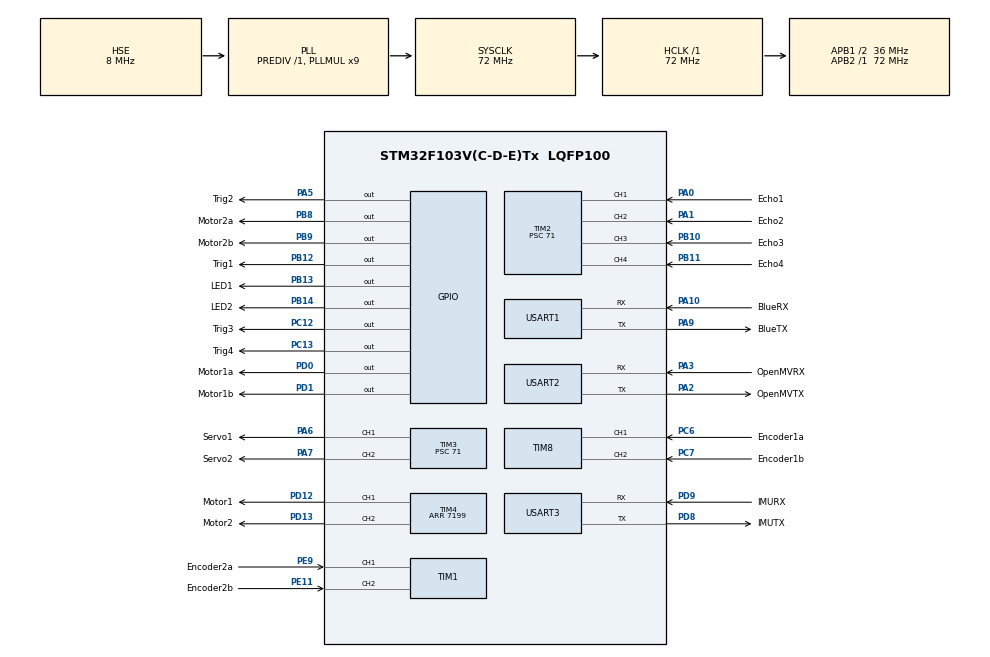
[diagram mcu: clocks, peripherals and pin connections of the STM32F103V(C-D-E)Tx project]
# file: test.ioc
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Dma.Request0=USART3_RX
Dma.USART3_RX.0.Direction=DMA_PERIPH_TO_MEMORY
Dma.USART3_RX.0.Instance=DMA1_Channel3
Dma.USART3_RX.0.MemDataAlignment=DMA_MDATAALIGN_BYTE
Dma.USART3_RX.0.MemInc=DMA_MINC_ENABLE
Dma.USART3_RX.0.Mode=DMA_NORMAL
Dma.USART3_RX.0.PeriphDataAlignment=DMA_PDATAALIGN_BYTE
Dma.USART3_RX.0.PeriphInc=DMA_PINC_DISABLE
Dma.USART3_RX.0.Priority=DMA_PRIORITY_LOW
Mcu.Family=STM32F1
Mcu.Name=STM32F103V(C-D-E)Tx
Mcu.Package=LQFP100
NVIC.DMA1_Channel3_IRQn=true\:0\:0\:false\:false\:true\:false\:true\:true
NVIC.PriorityGroup=NVIC_PRIORITYGROUP_4
NVIC.TIM2_IRQn=true\:6\:0\:true\:false\:true\:true\:true\:true
NVIC.TIM6_IRQn=true\:2\:0\:true\:false\:true\:true\:true\:true
NVIC.TIM7_IRQn=true\:4\:0\:true\:false\:true\:true\:true\:true
NVIC.USART1_IRQn=true\:5\:0\:true\:false\:true\:true\:true\:true
NVIC.USART2_IRQn=true\:5\:0\:true\:false\:true\:true\:true\:true
NVIC.USART3_IRQn=true\:5\:0\:true\:false\:true\:true\:true\:true
OSC_IN.Mode=HSE-External-Oscillator
OSC_IN.Signal=RCC_OSC_IN
OSC_OUT.Mode=HSE-External-Oscillator
OSC_OUT.Signal=RCC_OSC_OUT
PA0-WKUP.GPIO_Label=Echo1
PA0-WKUP.Signal=S_TIM2_CH1_ETR
PA1.GPIO_Label=Echo2
PA1.Signal=S_TIM2_CH2
PA10.GPIO_Label=BlueRX
PA10.Mode=Asynchronous
PA10.Signal=USART1_RX
PA13.Mode=Serial_Wire
PA13.Signal=SYS_JTMS-SWDIO
PA14.Mode=Serial_Wire
PA14.Signal=SYS_JTCK-SWCLK
PA2.GPIO_Label=OpenMVTX
PA2.Mode=Asynchronous
PA2.Signal=USART2_TX
PA3.GPIO_Label=OpenMVRX
PA3.Mode=Asynchronous
PA3.Signal=USART2_RX
PA5.GPIO_Label=Trig2
PA5.Signal=GPIO_Output
PA6.GPIO_Label=Servo1
PA6.Signal=S_TIM3_CH1
PA7.GPIO_Label=Servo2
PA7.Signal=S_TIM3_CH2
PA9.GPIO_Label=BlueTX
PA9.Mode=Asynchronous
PA9.Signal=USART1_TX
PB10.GPIO_Label=Echo3
PB10.Signal=S_TIM2_CH3
PB11.GPIO_Label=Echo4
PB11.Signal=S_TIM2_CH4
PB12.GPIO_Label=Trig1
PB12.Signal=GPIO_Output
PB13.GPIO_Label=LED1
PB13.Signal=GPIO_Output
PB14.GPIO_Label=LED2
PB14.Signal=GPIO_Output
PB8.GPIO_Label=Motor2a
PB8.Signal=GPIO_Output
PB9.GPIO_Label=Motor2b
PB9.Signal=GPIO_Output
PC12.GPIO_Label=Trig3
PC12.Signal=GPIO_Output
PC13-TAMPER-RTC.GPIO_Label=Trig4
PC13-TAMPER-RTC.Signal=GPIO_Output
PC14-OSC32_IN.Mode=LSE-External-Oscillator
PC14-OSC32_IN.Signal=RCC_OSC32_IN
PC15-OSC32_OUT.Mode=LSE-External-Oscillator
PC15-OSC32_OUT.Signal=RCC_OSC32_OUT
PC6.GPIO_Label=Encoder1a
PC6.Signal=S_TIM8_CH1
PC7.GPIO_Label=Encoder1b
PC7.Signal=S_TIM8_CH2
PD0.GPIO_Label=Motor1a
PD0.Signal=GPIO_Output
PD1.GPIO_Label=Motor1b
PD1.Signal=GPIO_Output
PD12.GPIO_Label=Motor1
PD12.Signal=S_TIM4_CH1
PD13.GPIO_Label=Motor2
PD13.Signal=S_TIM4_CH2
PD8.GPIO_Label=IMUTX
PD8.Mode=Asynchronous
PD8.Signal=USART3_TX
PD9.GPIO_Label=IMURX
PD9.Mode=Asynchronous
PD9.Signal=USART3_RX
PE11.GPIO_Label=Encoder2b
PE11.Signal=S_TIM1_CH2
PE9.GPIO_Label=Encoder2a
PE9.Signal=S_TIM1_CH1
ProjectManager.HeapSize=0x200
ProjectManager.StackSize=0x400
ProjectManager.TargetToolchain=STM32CubeIDE
RCC.AHBFreq_Value=72000000
RCC.APB1CLKDivider=RCC_HCLK_DIV2
RCC.APB1Freq_Value=36000000
RCC.APB1TimFreq_Value=72000000
RCC.APB2Freq_Value=72000000
RCC.APB2TimFreq_Value=72000000
RCC.HCLKFreq_Value=72000000
RCC.PLLMUL=RCC_PLL_MUL9
RCC.PLLSourceVirtual=RCC_PLLSOURCE_HSE
RCC.SYSCLKFreq_VALUE=72000000
RCC.SYSCLKSource=RCC_SYSCLKSOURCE_PLLCLK
RCC.USBFreq_Value=72000000
SH.S_TIM1_CH1.0=TIM1_CH1,Encoder_Interface
SH.S_TIM1_CH2.0=TIM1_CH2,Encoder_Interface
SH.S_TIM2_CH1_ETR.0=TIM2_CH1,Input_Capture1_from_TI1
SH.S_TIM2_CH2.0=TIM2_CH2,Input_Capture2_from_TI2
SH.S_TIM2_CH3.0=TIM2_CH3,Input_Capture3_from_TI3
SH.S_TIM2_CH4.0=TIM2_CH4,Input_Capture4_from_TI4
SH.S_TIM3_CH1.0=TIM3_CH1,PWM Generation1 CH1
SH.S_TIM3_CH2.0=TIM3_CH2,PWM Generation2 CH2
SH.S_TIM4_CH1.0=TIM4_CH1,PWM Generation1 CH1
SH.S_TIM4_CH2.0=TIM4_CH2,PWM Generation2 CH2
SH.S_TIM8_CH1.0=TIM8_CH1,Encoder_Interface
SH.S_TIM8_CH2.0=TIM8_CH2,Encoder_Interface
TIM2.Channel-Input_Capture1_from_TI1=TIM_CHANNEL_1
TIM2.Channel-Input_Capture2_from_TI2=TIM_CHANNEL_2
TIM2.Channel-Input_Capture3_from_TI3=TIM_CHANNEL_3
TIM2.Channel-Input_Capture4_from_TI4=TIM_CHANNEL_4
TIM2.Prescaler=71
TIM3.Channel-PWM\ Generation1\ CH1=TIM_CHANNEL_1
TIM3.Channel-PWM\ Generation2\ CH2=TIM_CHANNEL_2
TIM3.Period=19999
TIM3.Prescaler=71
TIM4.Channel-PWM\ Generation1\ CH1=TIM_CHANNEL_1
TIM4.Channel-PWM\ Generation2\ CH2=TIM_CHANNEL_2
TIM4.Period=7199
TIM6.Period=199
TIM6.Prescaler=7199
TIM7.Period=39
TIM7.Prescaler=71
TIM7.TIM_MasterOutputTrigger=TIM_TRGO_RESET
USART1.VirtualMode=VM_ASYNC
USART2.VirtualMode=VM_ASYNC
USART3.VirtualMode=VM_ASYNC
VP_TIM2_VS_ClockSourceINT.Mode=Internal
VP_TIM3_VS_ClockSourceINT.Mode=Internal
VP_TIM4_VS_ClockSourceINT.Mode=Internal
VP_TIM6_VS_ClockSourceINT.Mode=Enable_Timer
VP_TIM7_VS_ClockSourceINT.Mode=Enable_Timer
VP_TIM7_VS_OPM.Mode=OPM_bit
board=custom

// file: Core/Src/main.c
/* USER CODE BEGIN Header */
/**
  ******************************************************************************
  * @file           : main.c
  * @brief          : Main program body
  ******************************************************************************
  * @attention
  *
  * Copyright (c) 2022 STMicroelectronics.
  * All rights reserved.
  *
  * This software is licensed under terms that can be found in the LICENSE file
  * in the root directory of this software component.
  * If no LICENSE file comes with this software, it is provided AS-IS.
  *
  ******************************************************************************
  */
/* USER CODE END Header */
#include "main.h"

/* USER CODE BEGIN Includes */

#include "servo.h"
#include "ultrasound.h"
#include "control.h"
#include "timer.h"
#include "JY901.h"
#include "utils.h"
#include "buffer.h"

#include <stdio.h>
#include <string.h>

/* USER CODE END Includes */

TIM_HandleTypeDef htim1;
TIM_HandleTypeDef htim2;
TIM_HandleTypeDef htim3;
TIM_HandleTypeDef htim4;
TIM_HandleTypeDef htim6;
TIM_HandleTypeDef htim7;
TIM_HandleTypeDef htim8;

UART_HandleTypeDef huart1;
UART_HandleTypeDef huart2;
UART_HandleTypeDef huart3;
DMA_HandleTypeDef hdma_usart3_rx;

/* USER CODE BEGIN PV */

uint8_t BlueRX[BLUERXLEN + 1], BlueTX[BLUETXLEN];
uint8_t Blueflag;
uint16_t speedlim;
int fwdlim;

struct Servo servoB, servoS;
struct Wheel wheelL, wheelR;

struct Ultrasound ultra1, ultra2, ultra3, ultra4;
uint32_t Ultralim;
uint8_t doultra;

struct JY901 JY901data;
struct SAngle angle;

uint8_t doPID;
uint16_t aimENC;
struct PID fwdPIDL, fwdPIDR, rotPID;
short aimANG;
uint8_t doangPID;

uint8_t dospinPID;
struct PID speedPIDL, speedPIDR;
short speedL, speedR;
short aimspeedL, aimspeedR;

struct PID spinPID;

uint8_t OpenRX;
uint8_t openmvflag;

uint8_t opid;
short opnd;

uint8_t startmove;
uint8_t tank;	// dont stop
uint8_t speedonly;
uint8_t force;	// ignore OpenMV

/* USER CODE END PV */

void SystemClock_Config(void);
static void MX_GPIO_Init(void);
static void MX_DMA_Init(void);
static void MX_TIM3_Init(void);
static void MX_TIM1_Init(void);
static void MX_TIM2_Init(void);
static void MX_TIM4_Init(void);
static void MX_TIM8_Init(void);
static void MX_USART1_UART_Init(void);
static void MX_USART2_UART_Init(void);
static void MX_USART3_UART_Init(void);
static void MX_TIM6_Init(void);
static void MX_TIM7_Init(void);

int main(void)
{

  /* MCU Configuration--------------------------------------------------------*/

  /* Reset of all peripherals, Initializes the Flash interface and the Systick. */
  HAL_Init();

  /* Configure the system clock */
  SystemClock_Config();

  /* Initialize all configured peripherals */
  MX_GPIO_Init();
  MX_DMA_Init();
  MX_TIM3_Init();
  MX_TIM1_Init();
  MX_TIM2_Init();
  MX_TIM4_Init();
  MX_TIM8_Init();
  MX_USART1_UART_Init();
  MX_USART2_UART_Init();
  MX_USART3_UART_Init();
  MX_TIM6_Init();
  MX_TIM7_Init();
  /* USER CODE BEGIN 2 */

  // Servo
  Servo_init(&servoB, &htim3, TIM_CHANNEL_1);	// big
  Servo_init(&servoS, &htim3, TIM_CHANNEL_2);	// small
  Paw_init();

  // Wheel
  control_init();

  // Ultrasound
  Ultrasound_init(&ultra1, &htim2, TIM_CHANNEL_1, GPIOB, GPIO_PIN_12);	// front left
  Ultrasound_init(&ultra2, &htim2, TIM_CHANNEL_2, GPIOA, GPIO_PIN_5);	// front right
  ultra2.retreat = ultra1.retreat = retr_front;
  Ultrasound_init(&ultra3, &htim2, TIM_CHANNEL_3, GPIOC, GPIO_PIN_12);	// back left
  Ultrasound_init(&ultra4, &htim2, TIM_CHANNEL_4, GPIOC, GPIO_PIN_13);	// back right
  __HAL_TIM_CLEAR_IT(&htim7, TIM_IT_UPDATE);	// trig timer init

  // Timer
  TimerIT_init(&htim6);

  // IMU
  JY901_init(&JY901data, &huart3);

  /* USER CODE END 2 */

  /* Infinite loop */
  /* USER CODE BEGIN WHILE */

  openmvflag = 0;

  Blueflag = 0;

  PID_init(&fwdPIDL, 0.2, 0, 0);
  PID_init(&fwdPIDR, 0.2, 0, 0);
  PID_init(&rotPID, 0.1, 0, 0);
  PID_init(&speedPIDL, 1000, 100, 0);
  PID_init(&speedPIDR, 1000, 100, 0);
  PID_init(&spinPID, 0.0028, 0, 0);

  speedlim = 6000;
  fwdlim = 5000;

  HAL_GPIO_WritePin(GPIOB, GPIO_PIN_13, GPIO_PIN_SET);
  HAL_GPIO_WritePin(GPIOB, GPIO_PIN_14, GPIO_PIN_SET);

  Ultralim = 600;
  doultra = 1;

  while (1)
  {
    /* USER CODE END WHILE */

    /* USER CODE BEGIN 3 */

	  if(Blueflag){
		  handleBlueRX((char*)BlueRX, (char*)BlueTX);
		  Blueflag = 0;
	  }
	  if(openmvflag && !force){
		  handleOpenRX((char*)BlueTX);
		  openmvflag = 0;
	  }

	  Ultrasound_trig(&ultra1);
	  Ultrasound_trig(&ultra2);
	  __HAL_TIM_SET_COUNTER(&htim7, 0);
	  HAL_TIM_Base_Start_IT(&htim7);

	  HAL_Delay(100);

	  if(!ultra1.danger && !ultra2.danger && speedonly){
		  doPID = dospinPID = 0;
		  force = 0;
		  speedonly = 0;
	  }

  }
  /* USER CODE END 3 */
}

void SystemClock_Config(void)
{
  RCC_OscInitTypeDef RCC_OscInitStruct = {0};
  RCC_ClkInitTypeDef RCC_ClkInitStruct = {0};

  /** Initializes the RCC Oscillators according to the specified parameters
  * in the RCC_OscInitTypeDef structure.
  */
  RCC_OscInitStruct.OscillatorType = RCC_OSCILLATORTYPE_HSE;
  RCC_OscInitStruct.HSEState = RCC_HSE_ON;
  RCC_OscInitStruct.HSEPredivValue = RCC_HSE_PREDIV_DIV1;
  RCC_OscInitStruct.HSIState = RCC_HSI_ON;
  RCC_OscInitStruct.PLL.PLLState = RCC_PLL_ON;
  RCC_OscInitStruct.PLL.PLLSource = RCC_PLLSOURCE_HSE;
  RCC_OscInitStruct.PLL.PLLMUL = RCC_PLL_MUL9;
  if (HAL_RCC_OscConfig(&RCC_OscInitStruct) != HAL_OK)
  {
    Error_Handler();
  }

  /** Initializes the CPU, AHB and APB buses clocks
  */
  RCC_ClkInitStruct.ClockType = RCC_CLOCKTYPE_HCLK|RCC_CLOCKTYPE_SYSCLK
                              |RCC_CLOCKTYPE_PCLK1|RCC_CLOCKTYPE_PCLK2;
  RCC_ClkInitStruct.SYSCLKSource = RCC_SYSCLKSOURCE_PLLCLK;
  RCC_ClkInitStruct.AHBCLKDivider = RCC_SYSCLK_DIV1;
  RCC_ClkInitStruct.APB1CLKDivider = RCC_HCLK_DIV2;
  RCC_ClkInitStruct.APB2CLKDivider = RCC_HCLK_DIV1;

  if (HAL_RCC_ClockConfig(&RCC_ClkInitStruct, FLASH_LATENCY_2) != HAL_OK)
  {
    Error_Handler();
  }
}

static void MX_TIM1_Init(void)
{

  /* USER CODE BEGIN TIM1_Init 0 */

	// Encoder 2

  /* USER CODE END TIM1_Init 0 */

  TIM_Encoder_InitTypeDef sConfig = {0};
  TIM_MasterConfigTypeDef sMasterConfig = {0};

  htim1.Instance = TIM1;
  htim1.Init.Prescaler = 0;
  htim1.Init.CounterMode = TIM_COUNTERMODE_UP;
  htim1.Init.Period = 65535;
  htim1.Init.ClockDivision = TIM_CLOCKDIVISION_DIV1;
  htim1.Init.RepetitionCounter = 0;
  htim1.Init.AutoReloadPreload = TIM_AUTORELOAD_PRELOAD_DISABLE;
  sConfig.EncoderMode = TIM_ENCODERMODE_TI1;
  sConfig.IC1Polarity = TIM_ICPOLARITY_RISING;
  sConfig.IC1Selection = TIM_ICSELECTION_DIRECTTI;
  sConfig.IC1Prescaler = TIM_ICPSC_DIV1;
  sConfig.IC1Filter = 0;
  sConfig.IC2Polarity = TIM_ICPOLARITY_RISING;
  sConfig.IC2Selection = TIM_ICSELECTION_DIRECTTI;
  sConfig.IC2Prescaler = TIM_ICPSC_DIV1;
  sConfig.IC2Filter = 0;
  if (HAL_TIM_Encoder_Init(&htim1, &sConfig) != HAL_OK)
  {
    Error_Handler();
  }
  sMasterConfig.MasterOutputTrigger = TIM_TRGO_RESET;
  sMasterConfig.MasterSlaveMode = TIM_MASTERSLAVEMODE_DISABLE;
  if (HAL_TIMEx_MasterConfigSynchronization(&htim1, &sMasterConfig) != HAL_OK)
  {
    Error_Handler();
  }

}

static void MX_TIM2_Init(void)
{

  /* USER CODE BEGIN TIM2_Init 0 */

	// Ultrasound ECHO

  /* USER CODE END TIM2_Init 0 */

  TIM_ClockConfigTypeDef sClockSourceConfig = {0};
  TIM_MasterConfigTypeDef sMasterConfig = {0};
  TIM_IC_InitTypeDef sConfigIC = {0};

  htim2.Instance = TIM2;
  htim2.Init.Prescaler = 71;
  htim2.Init.CounterMode = TIM_COUNTERMODE_UP;
  htim2.Init.Period = 65535;
  htim2.Init.ClockDivision = TIM_CLOCKDIVISION_DIV1;
  htim2.Init.AutoReloadPreload = TIM_AUTORELOAD_PRELOAD_DISABLE;
  if (HAL_TIM_Base_Init(&htim2) != HAL_OK)
  {
    Error_Handler();
  }
  sClockSourceConfig.ClockSource = TIM_CLOCKSOURCE_INTERNAL;
  if (HAL_TIM_ConfigClockSource(&htim2, &sClockSourceConfig) != HAL_OK)
  {
    Error_Handler();
  }
  if (HAL_TIM_IC_Init(&htim2) != HAL_OK)
  {
    Error_Handler();
  }
  sMasterConfig.MasterOutputTrigger = TIM_TRGO_RESET;
  sMasterConfig.MasterSlaveMode = TIM_MASTERSLAVEMODE_DISABLE;
  if (HAL_TIMEx_MasterConfigSynchronization(&htim2, &sMasterConfig) != HAL_OK)
  {
    Error_Handler();
  }
  sConfigIC.ICPolarity = TIM_INPUTCHANNELPOLARITY_RISING;
  sConfigIC.ICSelection = TIM_ICSELECTION_DIRECTTI;
  sConfigIC.ICPrescaler = TIM_ICPSC_DIV1;
  sConfigIC.ICFilter = 0;
  if (HAL_TIM_IC_ConfigChannel(&htim2, &sConfigIC, TIM_CHANNEL_1) != HAL_OK)
  {
    Error_Handler();
  }
  if (HAL_TIM_IC_ConfigChannel(&htim2, &sConfigIC, TIM_CHANNEL_2) != HAL_OK)
  {
    Error_Handler();
  }
  if (HAL_TIM_IC_ConfigChannel(&htim2, &sConfigIC, TIM_CHANNEL_3) != HAL_OK)
  {
    Error_Handler();
  }
  if (HAL_TIM_IC_ConfigChannel(&htim2, &sConfigIC, TIM_CHANNEL_4) != HAL_OK)
  {
    Error_Handler();
  }

}

static void MX_TIM3_Init(void)
{

  /* USER CODE BEGIN TIM3_Init 0 */

	// Servo PWM

  /* USER CODE END TIM3_Init 0 */

  TIM_ClockConfigTypeDef sClockSourceConfig = {0};
  TIM_MasterConfigTypeDef sMasterConfig = {0};
  TIM_OC_InitTypeDef sConfigOC = {0};

  htim3.Instance = TIM3;
  htim3.Init.Prescaler = 71;
  htim3.Init.CounterMode = TIM_COUNTERMODE_UP;
  htim3.Init.Period = 19999;
  htim3.Init.ClockDivision = TIM_CLOCKDIVISION_DIV1;
  htim3.Init.AutoReloadPreload = TIM_AUTORELOAD_PRELOAD_DISABLE;
  if (HAL_TIM_Base_Init(&htim3) != HAL_OK)
  {
    Error_Handler();
  }
  sClockSourceConfig.ClockSource = TIM_CLOCKSOURCE_INTERNAL;
  if (HAL_TIM_ConfigClockSource(&htim3, &sClockSourceConfig) != HAL_OK)
  {
    Error_Handler();
  }
  if (HAL_TIM_PWM_Init(&htim3) != HAL_OK)
  {
    Error_Handler();
  }
  sMasterConfig.MasterOutputTrigger = TIM_TRGO_RESET;
  sMasterConfig.MasterSlaveMode = TIM_MASTERSLAVEMODE_DISABLE;
  if (HAL_TIMEx_MasterConfigSynchronization(&htim3, &sMasterConfig) != HAL_OK)
  {
    Error_Handler();
  }
  sConfigOC.OCMode = TIM_OCMODE_PWM1;
  sConfigOC.Pulse = 0;
  sConfigOC.OCPolarity = TIM_OCPOLARITY_HIGH;
  sConfigOC.OCFastMode = TIM_OCFAST_DISABLE;
  if (HAL_TIM_PWM_ConfigChannel(&htim3, &sConfigOC, TIM_CHANNEL_1) != HAL_OK)
  {
    Error_Handler();
  }
  if (HAL_TIM_PWM_ConfigChannel(&htim3, &sConfigOC, TIM_CHANNEL_2) != HAL_OK)
  {
    Error_Handler();
  }
  HAL_TIM_MspPostInit(&htim3);

}

static void MX_TIM4_Init(void)
{

  /* USER CODE BEGIN TIM4_Init 0 */

	// Motor PWM

  /* USER CODE END TIM4_Init 0 */

  TIM_ClockConfigTypeDef sClockSourceConfig = {0};
  TIM_MasterConfigTypeDef sMasterConfig = {0};
  TIM_OC_InitTypeDef sConfigOC = {0};

  htim4.Instance = TIM4;
  htim4.Init.Prescaler = 0;
  htim4.Init.CounterMode = TIM_COUNTERMODE_UP;
  htim4.Init.Period = 7199;
  htim4.Init.ClockDivision = TIM_CLOCKDIVISION_DIV1;
  htim4.Init.AutoReloadPreload = TIM_AUTORELOAD_PRELOAD_DISABLE;
  if (HAL_TIM_Base_Init(&htim4) != HAL_OK)
  {
    Error_Handler();
  }
  sClockSourceConfig.ClockSource = TIM_CLOCKSOURCE_INTERNAL;
  if (HAL_TIM_ConfigClockSource(&htim4, &sClockSourceConfig) != HAL_OK)
  {
    Error_Handler();
  }
  if (HAL_TIM_PWM_Init(&htim4) != HAL_OK)
  {
    Error_Handler();
  }
  sMasterConfig.MasterOutputTrigger = TIM_TRGO_RESET;
  sMasterConfig.MasterSlaveMode = TIM_MASTERSLAVEMODE_DISABLE;
  if (HAL_TIMEx_MasterConfigSynchronization(&htim4, &sMasterConfig) != HAL_OK)
  {
    Error_Handler();
  }
  sConfigOC.OCMode = TIM_OCMODE_PWM1;
  sConfigOC.Pulse = 0;
  sConfigOC.OCPolarity = TIM_OCPOLARITY_HIGH;
  sConfigOC.OCFastMode = TIM_OCFAST_DISABLE;
  if (HAL_TIM_PWM_ConfigChannel(&htim4, &sConfigOC, TIM_CHANNEL_1) != HAL_OK)
  {
    Error_Handler();
  }
  if (HAL_TIM_PWM_ConfigChannel(&htim4, &sConfigOC, TIM_CHANNEL_2) != HAL_OK)
  {
    Error_Handler();
  }
  HAL_TIM_MspPostInit(&htim4);

}

static void MX_TIM6_Init(void)
{

  /* USER CODE BEGIN TIM6_Init 0 */

	// Timer interrupt

  /* USER CODE END TIM6_Init 0 */

  TIM_MasterConfigTypeDef sMasterConfig = {0};

  htim6.Instance = TIM6;
  htim6.Init.Prescaler = 7199;
  htim6.Init.CounterMode = TIM_COUNTERMODE_UP;
  htim6.Init.Period = 199;
  htim6.Init.AutoReloadPreload = TIM_AUTORELOAD_PRELOAD_DISABLE;
  if (HAL_TIM_Base_Init(&htim6) != HAL_OK)
  {
    Error_Handler();
  }
  sMasterConfig.MasterOutputTrigger = TIM_TRGO_RESET;
  sMasterConfig.MasterSlaveMode = TIM_MASTERSLAVEMODE_DISABLE;
  if (HAL_TIMEx_MasterConfigSynchronization(&htim6, &sMasterConfig) != HAL_OK)
  {
    Error_Handler();
  }

}

static void MX_TIM7_Init(void)
{

  TIM_MasterConfigTypeDef sMasterConfig = {0};

  htim7.Instance = TIM7;
  htim7.Init.Prescaler = 71;
  htim7.Init.CounterMode = TIM_COUNTERMODE_UP;
  htim7.Init.Period = 39;
  htim7.Init.AutoReloadPreload = TIM_AUTORELOAD_PRELOAD_DISABLE;
  if (HAL_TIM_Base_Init(&htim7) != HAL_OK)
  {
    Error_Handler();
  }
  if (HAL_TIM_OnePulse_Init(&htim7, TIM_OPMODE_SINGLE) != HAL_OK)
  {
    Error_Handler();
  }
  sMasterConfig.MasterOutputTrigger = TIM_TRGO_RESET;
  sMasterConfig.MasterSlaveMode = TIM_MASTERSLAVEMODE_DISABLE;
  if (HAL_TIMEx_MasterConfigSynchronization(&htim7, &sMasterConfig) != HAL_OK)
  {
    Error_Handler();
  }

}

static void MX_TIM8_Init(void)
{

  /* USER CODE BEGIN TIM8_Init 0 */

	// Encoder 1

  /* USER CODE END TIM8_Init 0 */

  TIM_Encoder_InitTypeDef sConfig = {0};
  TIM_MasterConfigTypeDef sMasterConfig = {0};

  htim8.Instance = TIM8;
  htim8.Init.Prescaler = 0;
  htim8.Init.CounterMode = TIM_COUNTERMODE_UP;
  htim8.Init.Period = 65535;
  htim8.Init.ClockDivision = TIM_CLOCKDIVISION_DIV1;
  htim8.Init.RepetitionCounter = 0;
  htim8.Init.AutoReloadPreload = TIM_AUTORELOAD_PRELOAD_DISABLE;
  sConfig.EncoderMode = TIM_ENCODERMODE_TI1;
  sConfig.IC1Polarity = TIM_ICPOLARITY_RISING;
  sConfig.IC1Selection = TIM_ICSELECTION_DIRECTTI;
  sConfig.IC1Prescaler = TIM_ICPSC_DIV1;
  sConfig.IC1Filter = 0;
  sConfig.IC2Polarity = TIM_ICPOLARITY_RISING;
  sConfig.IC2Selection = TIM_ICSELECTION_DIRECTTI;
  sConfig.IC2Prescaler = TIM_ICPSC_DIV1;
  sConfig.IC2Filter = 0;
  if (HAL_TIM_Encoder_Init(&htim8, &sConfig) != HAL_OK)
  {
    Error_Handler();
  }
  sMasterConfig.MasterOutputTrigger = TIM_TRGO_RESET;
  sMasterConfig.MasterSlaveMode = TIM_MASTERSLAVEMODE_DISABLE;
  if (HAL_TIMEx_MasterConfigSynchronization(&htim8, &sMasterConfig) != HAL_OK)
  {
    Error_Handler();
  }

}

static void MX_USART1_UART_Init(void)
{

  /* USER CODE BEGIN USART1_Init 0 */

	// Bluetooth

  /* USER CODE END USART1_Init 0 */

  huart1.Instance = USART1;
  huart1.Init.BaudRate = 115200;
  huart1.Init.WordLength = UART_WORDLENGTH_8B;
  huart1.Init.StopBits = UART_STOPBITS_1;
  huart1.Init.Parity = UART_PARITY_NONE;
  huart1.Init.Mode = UART_MODE_TX_RX;
  huart1.Init.HwFlowCtl = UART_HWCONTROL_NONE;
  huart1.Init.OverSampling = UART_OVERSAMPLING_16;
  if (HAL_UART_Init(&huart1) != HAL_OK)
  {
    Error_Handler();
  }
  /* USER CODE BEGIN USART1_Init 2 */

  else{
	  HAL_UART_Receive_IT(&huart1, BlueRX, BLUERXLEN);
  }

  /* USER CODE END USART1_Init 2 */

}

static void MX_USART2_UART_Init(void)
{

  /* USER CODE BEGIN USART2_Init 0 */

	// OpenMV

  /* USER CODE END USART2_Init 0 */

  huart2.Instance = USART2;
  huart2.Init.BaudRate = 115200;
  huart2.Init.WordLength = UART_WORDLENGTH_8B;
  huart2.Init.StopBits = UART_STOPBITS_1;
  huart2.Init.Parity = UART_PARITY_NONE;
  huart2.Init.Mode = UART_MODE_TX_RX;
  huart2.Init.HwFlowCtl = UART_HWCONTROL_NONE;
  huart2.Init.OverSampling = UART_OVERSAMPLING_16;
  if (HAL_UART_Init(&huart2) != HAL_OK)
  {
    Error_Handler();
  }
  /* USER CODE BEGIN USART2_Init 2 */

	HAL_UART_Receive_IT(&huart2, &OpenRX, 1);

  /* USER CODE END USART2_Init 2 */

}

static void MX_USART3_UART_Init(void)
{

  /* USER CODE BEGIN USART3_Init 0 */

	// IMU

  /* USER CODE END USART3_Init 0 */

  huart3.Instance = USART3;
  huart3.Init.BaudRate = 115200;
  huart3.Init.WordLength = UART_WORDLENGTH_8B;
  huart3.Init.StopBits = UART_STOPBITS_1;
  huart3.Init.Parity = UART_PARITY_NONE;
  huart3.Init.Mode = UART_MODE_TX_RX;
  huart3.Init.HwFlowCtl = UART_HWCONTROL_NONE;
  huart3.Init.OverSampling = UART_OVERSAMPLING_16;
  if (HAL_UART_Init(&huart3) != HAL_OK)
  {
    Error_Handler();
  }
  /* USER CODE BEGIN USART3_Init 2 */

//  HAL_UART_Receive_IT(&huart3, IMURX, sizeof(IMURX));

  /* USER CODE END USART3_Init 2 */

}

static void MX_DMA_Init(void)
{

  /* DMA controller clock enable */
  __HAL_RCC_DMA1_CLK_ENABLE();

  /* DMA interrupt init */
  /* DMA1_Channel3_IRQn interrupt configuration */
  HAL_NVIC_SetPriority(DMA1_Channel3_IRQn, 0, 0);
  HAL_NVIC_EnableIRQ(DMA1_Channel3_IRQn);

}

static void MX_GPIO_Init(void)
{
  GPIO_InitTypeDef GPIO_InitStruct = {0};

  /* GPIO Ports Clock Enable */
  __HAL_RCC_GPIOC_CLK_ENABLE();
  __HAL_RCC_GPIOA_CLK_ENABLE();
  __HAL_RCC_GPIOE_CLK_ENABLE();
  __HAL_RCC_GPIOB_CLK_ENABLE();
  __HAL_RCC_GPIOD_CLK_ENABLE();

  /*Configure GPIO pin Output Level */
  HAL_GPIO_WritePin(GPIOC, Trig4_Pin|Trig3_Pin, GPIO_PIN_RESET);

  /*Configure GPIO pin Output Level */
  HAL_GPIO_WritePin(Trig2_GPIO_Port, Trig2_Pin, GPIO_PIN_RESET);

  /*Configure GPIO pin Output Level */
  HAL_GPIO_WritePin(GPIOB, Trig1_Pin|LED1_Pin|LED2_Pin|Motor2a_Pin
                          |Motor2b_Pin, GPIO_PIN_RESET);

  /*Configure GPIO pin Output Level */
  HAL_GPIO_WritePin(GPIOD, Motor1a_Pin|Motor1b_Pin, GPIO_PIN_RESET);

  /*Configure GPIO pins : Trig4_Pin Trig3_Pin */
  GPIO_InitStruct.Pin = Trig4_Pin|Trig3_Pin;
  GPIO_InitStruct.Mode = GPIO_MODE_OUTPUT_PP;
  GPIO_InitStruct.Pull = GPIO_NOPULL;
  GPIO_InitStruct.Speed = GPIO_SPEED_FREQ_LOW;
  HAL_GPIO_Init(GPIOC, &GPIO_InitStruct);

  /*Configure GPIO pin : Trig2_Pin */
  GPIO_InitStruct.Pin = Trig2_Pin;
  GPIO_InitStruct.Mode = GPIO_MODE_OUTPUT_PP;
  GPIO_InitStruct.Pull = GPIO_NOPULL;
  GPIO_InitStruct.Speed = GPIO_SPEED_FREQ_LOW;
  HAL_GPIO_Init(Trig2_GPIO_Port, &GPIO_InitStruct);

  /*Configure GPIO pins : Trig1_Pin LED1_Pin LED2_Pin Motor2a_Pin
                           Motor2b_Pin */
  GPIO_InitStruct.Pin = Trig1_Pin|LED1_Pin|LED2_Pin|Motor2a_Pin
                          |Motor2b_Pin;
  GPIO_InitStruct.Mode = GPIO_MODE_OUTPUT_PP;
  GPIO_InitStruct.Pull = GPIO_NOPULL;
  GPIO_InitStruct.Speed = GPIO_SPEED_FREQ_LOW;
  HAL_GPIO_Init(GPIOB, &GPIO_InitStruct);

  /*Configure GPIO pins : Motor1a_Pin Motor1b_Pin */
  GPIO_InitStruct.Pin = Motor1a_Pin|Motor1b_Pin;
  GPIO_InitStruct.Mode = GPIO_MODE_OUTPUT_PP;
  GPIO_InitStruct.Pull = GPIO_NOPULL;
  GPIO_InitStruct.Speed = GPIO_SPEED_FREQ_LOW;
  HAL_GPIO_Init(GPIOD, &GPIO_InitStruct);

}

/* USER CODE BEGIN 4 */

// UART interrupt callback
void HAL_UART_RxCpltCallback(UART_HandleTypeDef *huart){
	// Bluetooth
	if(huart == &huart1){
		Blueflag = 1;
		HAL_UART_Receive_IT(huart, BlueRX, BLUERXLEN);
	}

	// OpenMV
	if(huart == &huart2){
		openmvflag = buffer_push(OpenRX);
		HAL_UART_Receive_IT(huart, &OpenRX, 1);
	}
}

// ECHO callback
void HAL_TIM_IC_CaptureCallback(TIM_HandleTypeDef *htim){
	if(htim == &htim2){
		if(htim->Channel == HAL_TIM_ACTIVE_CHANNEL_1)
			Ultrasound_capturecallback(&ultra1);
		if(htim->Channel == HAL_TIM_ACTIVE_CHANNEL_2)
			Ultrasound_capturecallback(&ultra2);
		if(htim->Channel == HAL_TIM_ACTIVE_CHANNEL_3)
			Ultrasound_capturecallback(&ultra3);
		if(htim->Channel == HAL_TIM_ACTIVE_CHANNEL_4)
			Ultrasound_capturecallback(&ultra4);
	}
}

// TIM interrupt callback
void HAL_TIM_PeriodElapsedCallback(TIM_HandleTypeDef *htim){
	// Ultrasound
	if(htim == &htim2){
		if(htim->Channel == HAL_TIM_ACTIVE_CHANNEL_1)
			Ultrasound_periodcallback(&ultra1);
		if(htim->Channel == HAL_TIM_ACTIVE_CHANNEL_2)
			Ultrasound_periodcallback(&ultra2);
		if(htim->Channel == HAL_TIM_ACTIVE_CHANNEL_3)
			Ultrasound_periodcallback(&ultra3);
		if(htim->Channel == HAL_TIM_ACTIVE_CHANNEL_4)
			Ultrasound_periodcallback(&ultra4);
	}

	// Timer
	if(htim == &htim6){
		TimerIT_callback();
		HAL_TIM_Base_Start_IT(htim);
	}

	// Ultrasound trig
	if(htim == &htim7){
		HAL_TIM_Base_Stop_IT(&htim7);
		Ultrasound_detrig(&ultra1);
		Ultrasound_detrig(&ultra2);
	}
}

/* USER CODE END 4 */

void Error_Handler(void)
{
  __disable_irq();
  while (1)
  {
  }
}
